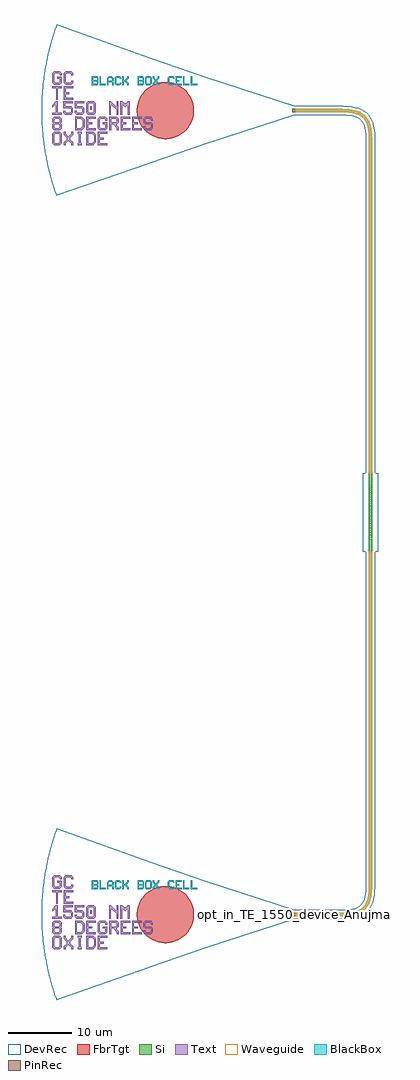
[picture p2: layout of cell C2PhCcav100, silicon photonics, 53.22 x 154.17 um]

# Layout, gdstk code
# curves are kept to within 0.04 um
from math import pi, radians
import gdstk
lib = gdstk.Library(unit=1e-6, precision=1e-09)
def R(c, l, rs):  # rectangles x0, y0, x1, y1
    for r in rs: c.add(gdstk.rectangle(r[:2], r[2:], *l))
def P(c, l, *ps):  # polygons
    for p in ps: c.add(gdstk.Polygon(p, *l))
Si = (1, 0)
PinRec = (1, 10)
Waveguide = (1, 99)
Text = (10, 0)
DevRec = (68, 0)
FbrTgt = (81, 0)
BlackBox = (998, 0)

text = lib.new_cell('TEXT')
P(text, BlackBox, [(0,0),(0,1.4),(0.8,1.4),(1,1.2),(0.2,1.2),(0.2,0.8),(0.7,0.8),(0.8,0.9),(0.8,1.1),(0.7,1.2),(1,1.2),(1,0.8),(0.9,0.7),(1,0.6),(0.2,0.6),(0.2,0.2),(0.7,0.2),(0.8,0.3),(0.8,0.5),(0.7,0.6),(1,0.6),(1,0.2),(0.8,0)],
  [(1.2,0),(1.2,1.4),(1.4,1.4),(1.4,0.2),(2.2,0.2),(2.2,0)],
  [(2.4,0),(2.4,1.1),(2.7,1.4),(3.1,1.4),(3.3,1.2),(2.8,1.2),(2.6,1),(2.6,0.7),(3.2,0.7),(3.2,1),(3,1.2),(3.3,1.2),(3.4,1.1),(3.4,0),(3.2,0),(3.2,0.5),(2.6,0.5),(2.6,0)],
  [(3.8,0),(3.6,0.2),(3.6,1.2),(3.8,1.4),(4.4,1.4),(4.6,1.2),(4.6,1),(4.4,1),(4.4,1.1),(4.3,1.2),(3.9,1.2),(3.8,1.1),(3.8,0.3),(3.9,0.2),(4.3,0.2),(4.4,0.3),(4.4,0.4),(4.6,0.4),(4.6,0.2),(4.4,0)],
  [(4.8,0),(4.8,1.4),(5,1.4),(5,0.8),(5.2,0.8),(5.6,1.2),(5.6,1.4),(5.8,1.4),(5.8,1.1),(5.4,0.7),(5.8,0.3),(5.8,0),(5.6,0),(5.6,0.2),(5.2,0.6),(5,0.6),(5,0)],
  [(7.2,0),(7.2,1.4),(8,1.4),(8.2,1.2),(7.4,1.2),(7.4,0.8),(7.9,0.8),(8,0.9),(8,1.1),(7.9,1.2),(8.2,1.2),(8.2,0.8),(8.1,0.7),(8.2,0.6),(7.4,0.6),(7.4,0.2),(7.9,0.2),(8,0.3),(8,0.5),(7.9,0.6),(8.2,0.6),(8.2,0.2),(8,0)],
  [(8.6,0),(8.4,0.2),(8.4,1.2),(8.6,1.4),(9.2,1.4),(9.4,1.2),(9.4,0.7),(9.2,0.7),(9.2,1.1),(9.1,1.2),(8.7,1.2),(8.6,1.1),(8.6,0.3),(8.7,0.2),(9.1,0.2),(9.2,0.3),(9.2,0.7),(9.4,0.7),(9.4,0.2),(9.2,0)],
  [(9.6,0),(9.6,0.3),(9.9,0.6),(9.9,0.8),(9.6,1.1),(9.6,1.4),(9.8,1.4),(9.8,1.2),(10.1,0.9),(10.4,1.2),(10.4,1.4),(10.6,1.4),(10.6,1.1),(10.3,0.8),(10.3,0.6),(10.6,0.3),(10.6,0),(10.4,0),(10.4,0.2),(10.1,0.5),(9.8,0.2),(9.8,0)],
  [(12.2,0),(12,0.2),(12,1.2),(12.2,1.4),(12.8,1.4),(13,1.2),(13,1),(12.8,1),(12.8,1.1),(12.7,1.2),(12.3,1.2),(12.2,1.1),(12.2,0.3),(12.3,0.2),(12.7,0.2),(12.8,0.3),(12.8,0.4),(13,0.4),(13,0.2),(12.8,0)],
  [(13.2,0),(13.2,1.4),(14.2,1.4),(14.2,1.2),(13.4,1.2),(13.4,0.8),(13.8,0.8),(13.8,0.6),(13.4,0.6),(13.4,0.2),(14.2,0.2),(14.2,0)],
  [(14.4,0),(14.4,1.4),(14.6,1.4),(14.6,0.2),(15.4,0.2),(15.4,0)],
  [(15.6,0),(15.6,1.4),(15.8,1.4),(15.8,0.2),(16.6,0.2),(16.6,0)])

gc_te_1550_8degoxide_bb = lib.new_cell('GC_TE_1550_8degOxide_BB')
R(gc_te_1550_8degoxide_bb, Si, [(-0.4,-0.25,0,0.25)])
R(gc_te_1550_8degoxide_bb, Text, [(-32.313,0.092,-32.013,0.692)])
P(gc_te_1550_8degoxide_bb, Text, [(-37.67,1.71),(-37.67,3.51),(-38.27,3.51),(-38.27,3.81),(-36.77,3.81),(-36.77,3.51),(-37.37,3.51),(-37.37,1.71)],
  [(-37.97,-5.49),(-38.27,-5.19),(-38.27,-3.69),(-37.97,-3.39),(-37.07,-3.39),(-36.77,-3.69),(-36.77,-4.44),(-37.07,-4.44),(-37.07,-3.84),(-37.22,-3.69),(-37.82,-3.69),(-37.97,-3.84),(-37.97,-5.04),(-37.82,-5.19),(-37.22,-5.19),(-37.07,-5.04),(-37.07,-4.44),(-36.77,-4.44),(-36.77,-5.19),(-37.07,-5.49)],
  [(-31.07,-5.49),(-31.07,-3.39),(-29.57,-3.39),(-29.57,-3.69),(-30.77,-3.69),(-30.77,-4.29),(-30.17,-4.29),(-30.17,-4.59),(-30.77,-4.59),(-30.77,-5.19),(-29.57,-5.19),(-29.57,-5.49)],
  [(-32.87,-3.09),(-32.87,-0.99),(-31.37,-0.99),(-31.37,-1.29),(-32.57,-1.29),(-32.57,-1.89),(-31.97,-1.89),(-31.97,-2.19),(-32.57,-2.19),(-32.57,-2.79),(-31.37,-2.79),(-31.37,-3.09)],
  [(-27.47,-3.09),(-27.47,-0.99),(-25.97,-0.99),(-25.97,-1.29),(-27.17,-1.29),(-27.17,-1.89),(-26.57,-1.89),(-26.57,-2.19),(-27.17,-2.19),(-27.17,-2.79),(-25.97,-2.79),(-25.97,-3.09)],
  [(-25.67,-3.09),(-25.67,-0.99),(-24.17,-0.99),(-24.17,-1.29),(-25.37,-1.29),(-25.37,-1.89),(-24.77,-1.89),(-24.77,-2.19),(-25.37,-2.19),(-25.37,-2.79),(-24.17,-2.79),(-24.17,-3.09)],
  [(-36.47,1.71),(-36.47,3.81),(-34.97,3.81),(-34.97,3.51),(-36.17,3.51),(-36.17,2.91),(-35.57,2.91),(-35.57,2.61),(-36.17,2.61),(-36.17,2.01),(-34.97,2.01),(-34.97,1.71)],
  [(-29.313,-0.658),(-29.313,1.442),(-29.013,1.442),(-28.263,0.692),(-28.113,0.692),(-28.113,1.442),(-27.813,1.442),(-27.813,-0.658),(-28.113,-0.658),(-28.113,0.092),(-28.863,0.842),(-29.013,0.842),(-29.013,-0.658)],
  [(-34.22,-5.49),(-34.22,-5.19),(-34.07,-5.19),(-34.07,-3.69),(-34.22,-3.69),(-34.22,-3.39),(-33.62,-3.39),(-33.62,-3.69),(-33.77,-3.69),(-33.77,-5.19),(-33.62,-5.19),(-33.62,-5.49)],
  [(-36.17,4.11),(-36.47,4.41),(-36.47,5.91),(-36.17,6.21),(-35.27,6.21),(-34.97,5.91),(-34.97,5.61),(-35.27,5.61),(-35.27,5.76),(-35.42,5.91),(-36.02,5.91),(-36.17,5.76),(-36.17,4.56),(-36.02,4.41),(-35.42,4.41),(-35.27,4.56),(-35.27,4.71),(-34.97,4.71),(-34.97,4.41),(-35.27,4.11)],
  [(-27.513,-0.658),(-27.513,1.442),(-27.213,1.442),(-26.913,1.142),(-26.613,1.142),(-26.313,1.442),(-26.013,1.442),(-26.013,-0.658),(-26.313,-0.658),(-26.313,0.842),(-26.463,0.842),(-26.763,0.542),(-27.063,0.842),(-27.213,0.842),(-27.213,-0.658)],
  [(-32.613,-0.658),(-32.913,-0.358),(-32.913,1.142),(-32.613,1.442),(-31.713,1.442),(-31.413,1.142),(-32.463,1.142),(-32.613,0.992),(-32.613,-0.208),(-32.463,-0.358),(-31.863,-0.358),(-31.713,-0.208),(-31.713,0.992),(-31.863,1.142),(-31.413,1.142),(-31.413,-0.358),(-31.713,-0.658)],
  [(-32.87,-5.49),(-32.87,-3.39),(-31.82,-3.39),(-31.52,-3.69),(-32.57,-3.69),(-32.57,-5.19),(-31.97,-5.19),(-31.67,-4.89),(-31.67,-3.99),(-31.97,-3.69),(-31.52,-3.69),(-31.37,-3.84),(-31.37,-5.04),(-31.82,-5.49)],
  [(-34.67,-3.09),(-34.67,-0.99),(-33.62,-0.99),(-33.32,-1.29),(-34.37,-1.29),(-34.37,-2.79),(-33.77,-2.79),(-33.47,-2.49),(-33.47,-1.59),(-33.77,-1.29),(-33.32,-1.29),(-33.17,-1.44),(-33.17,-2.64),(-33.62,-3.09)],
  [(-23.57,-3.09),(-23.87,-2.79),(-23.87,-2.49),(-23.57,-2.49),(-23.57,-2.64),(-23.42,-2.79),(-22.82,-2.79),(-22.67,-2.64),(-22.67,-2.34),(-22.82,-2.19),(-23.57,-2.19),(-23.87,-1.89),(-23.87,-1.29),(-23.57,-0.99),(-22.67,-0.99),(-22.37,-1.29),(-22.37,-1.59),(-22.67,-1.59),(-22.67,-1.44),(-22.82,-1.29),(-23.42,-1.29),(-23.57,-1.44),(-23.57,-1.74),(-23.42,-1.89),(-22.67,-1.89),(-22.37,-2.19),(-22.37,-2.79),(-22.67,-3.09)],
  [(-36.213,-0.658),(-36.513,-0.358),(-36.513,-0.058),(-36.213,-0.058),(-36.213,-0.208),(-36.063,-0.358),(-35.463,-0.358),(-35.313,-0.208),(-35.313,0.242),(-35.463,0.392),(-36.513,0.392),(-36.513,1.442),(-35.013,1.442),(-35.013,1.142),(-36.213,1.142),(-36.213,0.692),(-35.313,0.692),(-35.013,0.392),(-35.013,-0.358),(-35.313,-0.658)],
  [(-34.413,-0.658),(-34.713,-0.358),(-34.713,-0.058),(-34.413,-0.058),(-34.413,-0.208),(-34.263,-0.358),(-33.663,-0.358),(-33.513,-0.208),(-33.513,0.242),(-33.663,0.392),(-34.713,0.392),(-34.713,1.442),(-33.213,1.442),(-33.213,1.142),(-34.413,1.142),(-34.413,0.692),(-33.513,0.692),(-33.213,0.392),(-33.213,-0.358),(-33.513,-0.658)],
  [(-37.97,-3.09),(-38.27,-2.79),(-38.27,-2.19),(-38.12,-2.04),(-38.27,-1.89),(-38.27,-1.29),(-37.97,-0.99),(-37.07,-0.99),(-36.77,-1.29),(-37.82,-1.29),(-37.97,-1.44),(-37.97,-1.74),(-37.82,-1.89),(-37.22,-1.89),(-37.07,-1.74),(-37.07,-1.44),(-37.22,-1.29),(-36.77,-1.29),(-36.77,-1.89),(-36.92,-2.04),(-36.77,-2.19),(-37.82,-2.19),(-37.97,-2.34),(-37.97,-2.64),(-37.82,-2.79),(-37.22,-2.79),(-37.07,-2.64),(-37.07,-2.34),(-37.22,-2.19),(-36.77,-2.19),(-36.77,-2.79),(-37.07,-3.09)],
  [(-38.313,-0.658),(-38.313,-0.358),(-37.713,-0.358),(-37.713,0.842),(-37.863,0.842),(-38.163,0.542),(-38.313,0.542),(-38.313,0.842),(-37.713,1.442),(-37.413,1.442),(-37.413,-0.358),(-36.813,-0.358),(-36.813,-0.658)],
  [(-36.47,-5.49),(-36.47,-5.04),(-36.02,-4.59),(-36.02,-4.29),(-36.47,-3.84),(-36.47,-3.39),(-36.17,-3.39),(-36.17,-3.69),(-35.72,-4.14),(-35.27,-3.69),(-35.27,-3.39),(-34.97,-3.39),(-34.97,-3.84),(-35.42,-4.29),(-35.42,-4.59),(-34.97,-5.04),(-34.97,-5.49),(-35.27,-5.49),(-35.27,-5.19),(-35.72,-4.74),(-36.17,-5.19),(-36.17,-5.49)],
  [(-30.77,-3.09),(-31.07,-2.79),(-31.07,-1.29),(-30.77,-0.99),(-29.87,-0.99),(-29.57,-1.29),(-29.57,-1.59),(-29.87,-1.59),(-29.87,-1.44),(-30.02,-1.29),(-30.62,-1.29),(-30.77,-1.44),(-30.77,-2.64),(-30.62,-2.79),(-30.02,-2.79),(-29.87,-2.64),(-29.87,-2.19),(-30.32,-2.19),(-30.32,-1.89),(-29.57,-1.89),(-29.57,-2.79),(-29.87,-3.09)],
  [(-37.97,4.11),(-38.27,4.41),(-38.27,5.91),(-37.97,6.21),(-37.07,6.21),(-36.77,5.91),(-36.77,5.61),(-37.07,5.61),(-37.07,5.76),(-37.22,5.91),(-37.82,5.91),(-37.97,5.76),(-37.97,4.56),(-37.82,4.41),(-37.22,4.41),(-37.07,4.56),(-37.07,5.01),(-37.52,5.01),(-37.52,5.31),(-36.77,5.31),(-36.77,4.41),(-37.07,4.11)],
  [(-29.27,-3.09),(-29.27,-0.99),(-28.07,-0.99),(-27.77,-1.29),(-28.97,-1.29),(-28.97,-1.89),(-28.22,-1.89),(-28.07,-1.74),(-28.07,-1.44),(-28.22,-1.29),(-27.77,-1.29),(-27.77,-1.89),(-28.07,-2.19),(-28.07,-2.34),(-27.77,-2.64),(-27.77,-3.09),(-28.07,-3.09),(-28.07,-2.79),(-28.67,-2.19),(-28.97,-2.19),(-28.97,-3.09)])
P(gc_te_1550_8degoxide_bb, DevRec, [(-37.607,-13.5),(-38.627,-10.245),(-39.378,-6.832),(-39.647,-5.058),(-39.835,-3.274),(-39.969,0.224),(-39.812,3.541),(-39.331,7.097),(-38.557,10.505),(-37.546,13.669),(-22.8,8.353),(-14.109,5.36),(0,0.75),(0,-0.75),(-14.109,-5.36)])
P(gc_te_1550_8degoxide_bb, FbrTgt, [(-20.621,-4.5),(-21.495,-4.37),(-22.326,-4.073),(-23.084,-3.619),(-23.738,-3.026),(-24.264,-2.316),(-24.642,-1.518),(-24.857,-0.661),(-24.9,0.221),(-24.77,1.095),(-24.473,1.926),(-24.019,2.684),(-23.426,3.338),(-22.716,3.864),(-21.918,4.242),(-21.061,4.457),(-20.179,4.5),(-19.305,4.37),(-18.474,4.073),(-17.716,3.619),(-17.062,3.026),(-16.536,2.316),(-16.158,1.518),(-15.943,0.661),(-15.9,-0.221),(-16.03,-1.095),(-16.327,-1.926),(-16.781,-2.684),(-17.374,-3.338),(-18.084,-3.864),(-18.882,-4.242),(-19.739,-4.457)])
gc_te_1550_8degoxide_bb.add(gdstk.FlexPath([(-0.01,0),(0.01,0)], 0.5, ends="flush", simple_path=True, layer=1, datatype=10))  # PinRec
gc_te_1550_8degoxide_bb.add(gdstk.Reference(text, (-32,4)))
gc_te_1550_8degoxide_bb.add(gdstk.Label('opt1', (0,0), layer=1, texttype=10))
gc_te_1550_8degoxide_bb.add(gdstk.Label('Lumerical_INTERCONNECT_library=Design kits/ebeam', (-29,-7), layer=68, texttype=0))
gc_te_1550_8degoxide_bb.add(gdstk.Label('Component=GC_TE_1550_8degOxide_BB', (-28,-5), layer=68, texttype=0))

nanobeam_cav_r110nm_ac34 = lib.new_cell('nanobeam_cav_r110nm_ac345nm_am380nm_m2_s100')
P(nanobeam_cav_r110nm_ac34, Si, [(-6.212,-0.25),(-6.212,0.11),(-4.102,0.11),(-4.18,0.078),(-4.212,0.011),(-4.18,-0.078),(-4.102,-0.11),(-4.024,-0.078),(-3.992,0),(-4.024,0.078),(-4.102,0.11),(-3.722,0.11),(-3.8,0.078),(-3.832,0.011),(-3.8,-0.078),(-3.722,-0.11),(-3.644,-0.078),(-3.612,0),(-3.644,0.078),(-3.722,0.11),(-3.349,0.11),(-3.427,0.078),(-3.459,0),(-3.427,-0.078),(-3.349,-0.11),(-3.271,-0.078),(-3.239,-0.011),(-3.271,0.078),(-3.349,0.11),(-2.982,0.11),(-3.059,0.078),(-3.092,0),(-3.067,-0.07),(-2.982,-0.11),(-2.904,-0.078),(-2.872,-0.011),(-2.896,0.07),(-2.982,0.11),(-2.619,0.11),(-2.697,0.078),(-2.729,0.011),(-2.697,-0.078),(-2.619,-0.11),(-2.542,-0.078),(-2.509,0),(-2.534,0.07),(-2.619,0.11),(-2.262,0.11),(-2.34,0.078),(-2.372,0),(-2.34,-0.078),(-2.262,-0.11),(-2.184,-0.078),(-2.152,-0.011),(-2.184,0.078),(-2.262,0.11),(-1.908,0.11),(-1.986,0.078),(-2.018,0),(-1.986,-0.078),(-1.908,-0.11),(-1.83,-0.078),(-1.798,0),(-1.83,0.078),(-1.908,0.11),(-1.557,0.11),(-1.635,0.078),(-1.667,0.011),(-1.635,-0.078),(-1.557,-0.11),(-1.48,-0.078),(-1.447,0),(-1.472,0.07),(-1.557,0.11),(-1.209,0.11),(-1.287,0.078),(-1.319,0.011),(-1.287,-0.078),(-1.209,-0.11),(-1.131,-0.078),(-1.099,0),(-1.131,0.078),(-1.209,0.11),(-0.863,0.11),(-0.941,0.078),(-0.973,0),(-0.941,-0.078),(-0.863,-0.11),(-0.785,-0.078),(-0.753,-0.011),(-0.785,0.078),(-0.863,0.11),(-0.518,0.11),(-0.595,0.078),(-0.628,0),(-0.603,-0.07),(-0.518,-0.11),(-0.44,-0.078),(-0.408,-0.011),(-0.432,0.07),(-0.518,0.11),(-0.173,0.11),(-0.25,0.078),(-0.283,0),(-0.25,-0.078),(-0.172,-0.11),(-0.087,-0.07),(-0.063,0.011),(-0.095,0.078),(-0.173,0.11),(0.173,0.11),(0.095,0.078),(0.063,0.011),(0.087,-0.07),(0.173,-0.11),(0.25,-0.078),(0.283,0),(0.258,0.07),(0.173,0.11),(0.518,0.11),(0.44,0.078),(0.408,0.011),(0.432,-0.07),(0.518,-0.11),(0.595,-0.078),(0.628,0),(0.603,0.07),(0.518,0.11),(0.863,0.11),(0.785,0.078),(0.753,0.011),(0.785,-0.078),(0.863,-0.11),(0.941,-0.078),(0.973,0),(0.941,0.078),(0.863,0.11),(1.209,0.11),(1.131,0.078),(1.099,0),(1.131,-0.078),(1.209,-0.11),(1.287,-0.078),(1.319,-0.011),(1.287,0.078),(1.209,0.11),(1.557,0.11),(1.48,0.078),(1.447,0),(1.472,-0.07),(1.557,-0.11),(1.635,-0.078),(1.667,-0.011),(1.635,0.078),(1.557,0.11),(1.908,0.11),(1.83,0.078),(1.798,0),(1.83,-0.078),(1.908,-0.11),(1.986,-0.078),(2.018,0),(1.986,0.078),(1.908,0.11),(2.262,0.11),(2.184,0.078),(2.152,0.011),(2.184,-0.078),(2.262,-0.11),(2.34,-0.078),(2.372,0),(2.34,0.078),(2.262,0.11),(2.619,0.11),(2.542,0.078),(2.509,0),(2.534,-0.07),(2.619,-0.11),(2.697,-0.078),(2.729,-0.011),(2.697,0.078),(2.619,0.11),(2.982,0.11),(2.904,0.078),(2.872,0.011),(2.896,-0.07),(2.982,-0.11),(3.059,-0.078),(3.092,0),(3.067,0.07),(2.982,0.11),(3.349,0.11),(3.271,0.078),(3.239,0.011),(3.257,-0.061),(3.327,-0.108),(3.419,-0.085),(3.457,-0.021),(3.434,0.07),(3.349,0.11),(3.722,0.11),(3.644,0.078),(3.613,0.011),(3.637,-0.07),(3.701,-0.108),(3.792,-0.085),(3.832,-0.011),(3.8,0.078),(3.722,0.11),(4.102,0.11),(4.024,0.078),(3.993,0.011),(4.017,-0.07),(4.081,-0.108),(4.172,-0.085),(4.212,-0.011),(4.18,0.078),(4.102,0.11),(-6.212,0.11),(-6.212,0.25),(6.212,0.25),(6.212,-0.25)])
R(nanobeam_cav_r110nm_ac34, DevRec, [(-6.212,-1.25,6.212,1.25)])
nanobeam_cav_r110nm_ac34.add(gdstk.FlexPath([(-6.202,0),(-6.222,0)], 0.5, ends="flush", simple_path=True, layer=1, datatype=10))  # PinRec
nanobeam_cav_r110nm_ac34.add(gdstk.FlexPath([(6.202,0),(6.222,0)], 0.5, ends="flush", simple_path=True, layer=1, datatype=10))  # PinRec
nanobeam_cav_r110nm_ac34.add(gdstk.Label('opt1', (-6.212,0), layer=1, texttype=10))
nanobeam_cav_r110nm_ac34.add(gdstk.Label('opt2', (6.212,0), layer=1, texttype=10))
nanobeam_cav_r110nm_ac34.add(gdstk.Label('Lumerical_INTERCONNECT_library=Custom/SiEPIC_user', (0,0), layer=68, texttype=0))
nanobeam_cav_r110nm_ac34.add(gdstk.Label('Component=nanobeam_cav_r110nm_ac345nm_am380nm_m2_s100', (0,-0.5), layer=68, texttype=0))
nanobeam_cav_r110nm_ac34.add(gdstk.Label('Spice_param:r=0.110u holes=24', (0,-1), layer=68, texttype=0))

waveguide_43 = lib.new_cell('Waveguide$43')
P(waveguide_43, Si, [(429,253.75),(429,254.25),(436.427,254.254),(437.559,254.321),(438.479,254.478),(439.303,254.79),(439.896,255.253),(440.313,255.906),(440.554,256.658),(440.711,257.793),(440.75,259),(440.75,311.288),(441.25,311.288),(441.25,259),(441.194,257.568),(441.042,256.55),(440.71,255.577),(440.177,254.823),(439.422,254.289),(438.449,253.957),(437.613,253.823),(436.437,253.754)])
P(waveguide_43, Waveguide, [(429,253.75),(429,254.25),(436.427,254.254),(437.559,254.321),(438.479,254.478),(439.303,254.79),(439.896,255.253),(440.313,255.906),(440.554,256.658),(440.711,257.793),(440.75,259),(440.75,311.288),(441.25,311.288),(441.25,259),(441.194,257.568),(441.042,256.55),(440.71,255.577),(440.177,254.823),(439.422,254.289),(438.449,253.957),(437.613,253.823),(436.437,253.754)])
P(waveguide_43, DevRec, [(429,253.25),(429,254.75),(436.649,254.76),(438.193,254.925),(438.895,255.145),(439.375,255.442),(439.557,255.624),(439.854,256.104),(440.074,256.806),(440.207,257.769),(440.25,259),(440.25,311.288),(441.75,311.288),(441.75,259),(441.703,257.649),(441.54,256.49),(441.222,255.49),(440.697,254.65),(439.95,254.011),(439.509,253.777),(438.509,253.459),(436.701,253.26)])
waveguide_43.add(gdstk.FlexPath([(429.01,254),(428.99,254)], 0.5, ends="flush", simple_path=True, layer=1, datatype=10))  # PinRec
waveguide_43.add(gdstk.FlexPath([(441,311.278),(441,311.298)], 0.5, ends="flush", simple_path=True, layer=1, datatype=10))  # PinRec
waveguide_43.add(gdstk.Label('opt1', (429,254), layer=1, texttype=10))
waveguide_43.add(gdstk.Label('opt2', (441,311.288), layer=1, texttype=10))
waveguide_43.add(gdstk.Label('Lumerical_INTERCONNECT_library=Design kits/EBeam', (429,253.9), layer=68, texttype=0))
waveguide_43.add(gdstk.Label('Component=ebeam_wg_integral_1550', (429,254.1), layer=68, texttype=0))
waveguide_43.add(gdstk.Label('cellName=Waveguide', (429,254.2), layer=68, texttype=0))
waveguide_43.add(gdstk.Label('Spice_param:wg_length=0.000067736 wg_width=5e-07 points="[[429.0,254.0],[441.0,254.0],[441.0,311.288]]" radius=5e-06', (429,254), layer=68, texttype=0))
waveguide_43.add(gdstk.Label('Length=67.736 (microns)', (429,253.4), layer=68, texttype=0))
waveguide_43.add(gdstk.Label('waveguide_type=Strip TE 1550 nm, w=500 nm', (429,253.8), layer=68, texttype=0))

waveguide_44 = lib.new_cell('Waveguide$44')
P(waveguide_44, Si, [(440.75,323.712),(440.75,376),(440.712,377.206),(440.585,378.196),(440.314,379.093),(439.897,379.746),(439.304,380.209),(438.48,380.521),(437.56,380.678),(436.428,380.745),(429,380.75),(429,381.25),(436.438,381.245),(437.614,381.176),(438.45,381.042),(439.423,380.71),(440.177,380.177),(440.711,379.422),(441.043,378.449),(441.195,377.431),(441.25,376),(441.25,323.712)])
P(waveguide_44, Waveguide, [(440.75,323.712),(440.75,376),(440.712,377.206),(440.585,378.196),(440.314,379.093),(439.897,379.746),(439.304,380.209),(438.48,380.521),(437.56,380.678),(436.428,380.745),(429,380.75),(429,381.25),(436.438,381.245),(437.614,381.176),(438.45,381.042),(439.423,380.71),(440.177,380.177),(440.711,379.422),(441.043,378.449),(441.195,377.431),(441.25,376),(441.25,323.712)])
P(waveguide_44, DevRec, [(440.25,323.712),(440.25,376),(440.208,377.23),(440.075,378.193),(439.855,378.895),(439.558,379.375),(439.376,379.557),(438.896,379.854),(438.194,380.074),(436.65,380.239),(429,380.25),(429,381.75),(436.702,381.739),(438.51,381.54),(439.51,381.222),(440.35,380.697),(440.989,379.95),(441.223,379.509),(441.541,378.509),(441.704,377.35),(441.75,376),(441.75,323.712)])
waveguide_44.add(gdstk.FlexPath([(441,323.722),(441,323.702)], 0.5, ends="flush", simple_path=True, layer=1, datatype=10))  # PinRec
waveguide_44.add(gdstk.FlexPath([(429.01,381),(428.99,381)], 0.5, ends="flush", simple_path=True, layer=1, datatype=10))  # PinRec
waveguide_44.add(gdstk.Label('opt1', (441,323.712), layer=1, texttype=10))
waveguide_44.add(gdstk.Label('opt2', (429,381), layer=1, texttype=10))
waveguide_44.add(gdstk.Label('Lumerical_INTERCONNECT_library=Design kits/EBeam', (440.9,323.712), layer=68, texttype=0))
waveguide_44.add(gdstk.Label('Component=ebeam_wg_integral_1550', (441.1,323.712), layer=68, texttype=0))
waveguide_44.add(gdstk.Label('cellName=Waveguide', (441.2,323.712), layer=68, texttype=0))
waveguide_44.add(gdstk.Label('Spice_param:wg_length=0.000067736 wg_width=5e-07 points="[[441.0,323.712],[441.0,381.0],[429.0,381.0]]" radius=5e-06', (441,323.712), layer=68, texttype=0))
waveguide_44.add(gdstk.Label('Length=67.736 (microns)', (440.4,323.712), layer=68, texttype=0))
waveguide_44.add(gdstk.Label('waveguide_type=Strip TE 1550 nm, w=500 nm', (440.8,323.712), layer=68, texttype=0))

c2phccav100 = lib.new_cell('C2PhCcav100')
c2phccav100.add(gdstk.Reference(gc_te_1550_8degoxide_bb, (429,254)))
c2phccav100.add(gdstk.Reference(gc_te_1550_8degoxide_bb, (429,381)))
c2phccav100.add(gdstk.Reference(nanobeam_cav_r110nm_ac34, (441,317.5), rotation=pi/2))
c2phccav100.add(gdstk.Reference(waveguide_43, (0,0)))
c2phccav100.add(gdstk.Reference(waveguide_44, (0,0)))
c2phccav100.add(gdstk.Label('opt_in_TE_1550_device_Anujmaverick_C2PhCcav100', (429,254), layer=10, texttype=0))

lib.write_gds('C2PhCcav100.gds')
